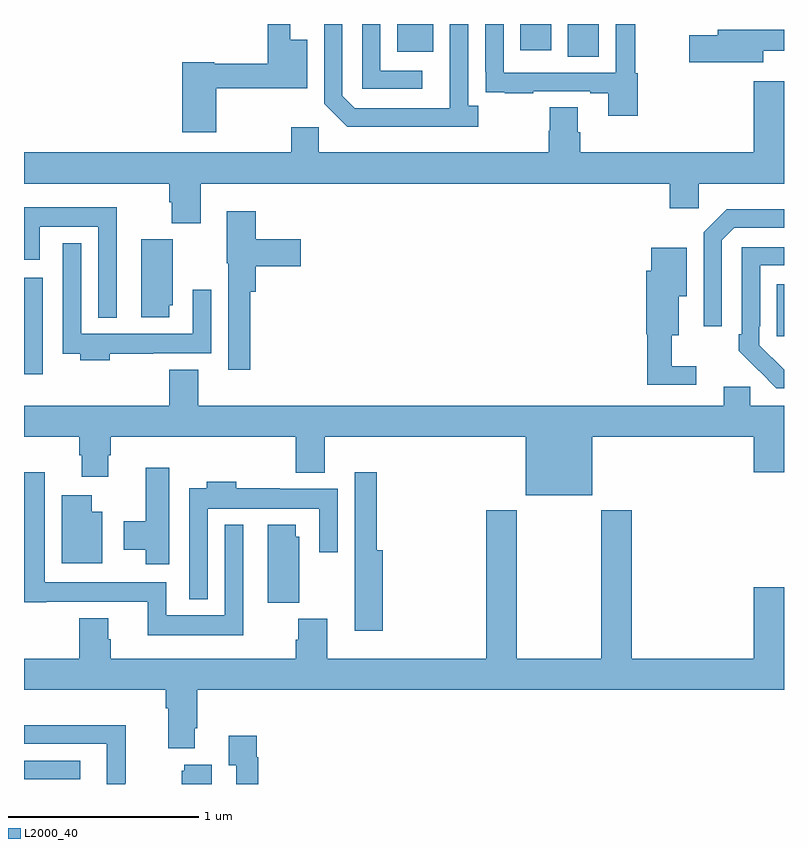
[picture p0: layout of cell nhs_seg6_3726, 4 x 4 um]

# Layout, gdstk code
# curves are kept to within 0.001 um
import gdstk
lib = gdstk.Library(unit=1e-6, precision=1e-09)
def R(c, l, rs):  # rectangles x0, y0, x1, y1
    for r in rs: c.add(gdstk.rectangle(r[:2], r[2:], *l))
def P(c, l, *ps):  # polygons
    for p in ps: c.add(gdstk.Polygon(p, *l))
L2000_40 = (2000, 40)

nhs_seg6_3726 = lib.new_cell('nhs_seg6_3726')
R(nhs_seg6_3726, L2000_40, [(329,953.526,329.296,953.622), (329,955.656,329.098,956.164), (332.963,955.857,333,956.131), (331.862,957.328,332.026,957.5), (330.965,957.353,331.153,957.5), (331.613,957.363,331.774,957.5)])
P(nhs_seg6_3726, L2000_40, [(331.39,957.07),(331.338,957.07),(331.338,957.5),(331.242,957.5),(331.241,957.057),(330.741,957.057),(330.675,957.123),(330.675,957.5),(330.579,957.5),(330.579,957.081),(330.7,956.96),(331.39,956.96)],
  [(330.012,957.162),(330.49,957.162),(330.49,957.418),(330.401,957.418),(330.401,957.5),(330.283,957.5),(330.283,957.29),(330,957.29),(330,957.298),(329.834,957.298),(329.834,956.931),(330.012,956.931)],
  [(331.096,957.255),(330.876,957.255),(330.876,957.5),(330.78,957.5),(330.78,957.159),(331.096,957.159)],
  [(332.231,957.24),(332.216,957.24),(332.216,957.5),(332.115,957.5),(332.115,957.243),(331.524,957.243),(331.524,957.5),(331.428,957.5),(331.428,957.25),(331.429,957.25),(331.429,957.141),(331.531,957.141),(331.531,957.135),(331.679,957.135),(331.679,957.147),(331.979,957.147),(331.979,957.135),(332.075,957.135),(332.075,957.018),(332.231,957.018)],
  [(332.89,957.359),(333,957.359),(333,957.469),(332.651,957.469),(332.651,957.44),(332.502,957.44),(332.502,957.298),(332.89,957.298)],
  [(329.93,956.66),(332.399,956.66),(332.399,956.529),(332.55,956.529),(332.55,956.66),(333,956.66),(333,957.199),(332.84,957.199),(332.84,956.824),(331.928,956.824),(331.928,956.93),(331.915,956.93),(331.915,957.062),(331.768,957.062),(331.768,956.937),(331.763,956.937),(331.763,956.824),(330.552,956.824),(330.552,956.956),(330.406,956.956),(330.406,956.824),(329,956.824),(329,956.66),(329.765,956.66),(329.765,956.561),(329.777,956.561),(329.777,956.452),(329.93,956.452)],
  [(329.488,956.536),(329,956.536),(329,956.258),(329.082,956.258),(329.082,956.432),(329.391,956.432),(329.391,955.955),(329.488,955.955)],
  [(332.673,956.361),(332.739,956.427),(333,956.427),(333,956.524),(332.698,956.524),(332.577,956.403),(332.577,955.908),(332.673,955.908)],
  [(330.191,956.09),(330.221,956.09),(330.221,956.225),(330.457,956.225),(330.457,956.367),(330.221,956.367),(330.221,956.515),(330.068,956.515),(330.068,956.241),(330.075,956.241),(330.075,955.68),(330.191,955.68)],
  [(329.764,956.019),(329.782,956.019),(329.782,956.367),(329.618,956.367),(329.618,955.956),(329.764,955.956)],
  [(329.45,955.764),(329.681,955.764),(329.681,955.766),(329.985,955.766),(329.985,956.101),(329.889,956.101),(329.889,955.87),(329.301,955.87),(329.301,956.347),(329.205,956.347),(329.205,955.764),(329.297,955.764),(329.297,955.73),(329.45,955.73)],
  [(333,955.681),(332.871,955.809),(332.871,955.909),(332.874,955.909),(332.874,956.229),(333,956.229),(333,956.325),(332.778,956.325),(332.778,955.867),(332.763,955.867),(332.763,955.779),(332.96,955.584),(333,955.584)],
  [(332.539,955.699),(332.41,955.699),(332.41,955.862),(332.446,955.862),(332.446,956.066),(332.488,956.066),(332.488,956.323),(332.3,956.323),(332.3,956.202),(332.276,956.202),(332.276,955.866),(332.281,955.866),(332.281,955.602),(332.539,955.602)],
  [(331.99,955.328),(332.84,955.328),(332.84,955.14),(333,955.14),(333,955.492),(332.823,955.492),(332.823,955.59),(332.684,955.59),(332.684,955.492),(329.917,955.492),(329.917,955.681),(329.765,955.681),(329.765,955.492),(329,955.492),(329,955.328),(329.291,955.328),(329.291,955.23),(329.303,955.23),(329.303,955.116),(329.443,955.116),(329.443,955.23),(329.456,955.23),(329.456,955.328),(330.431,955.328),(330.431,955.139),(330.583,955.139),(330.583,955.328),(331.64,955.328),(331.64,955.019),(331.99,955.019)],
  [(329.764,955.165),(329.642,955.165),(329.642,954.882),(329.525,954.882),(329.525,954.734),(329.642,954.734),(329.642,954.657),(329.764,954.657)],
  [(330.154,954.865),(330.057,954.865),(330.057,954.388),(329.748,954.388),(329.748,954.562),(329.109,954.562),(329.109,955.141),(329,955.141),(329,954.456),(329.116,954.456),(329.116,954.458),(329.651,954.458),(329.651,954.284),(330.154,954.284)],
  [(330.887,954.73),(330.857,954.73),(330.857,955.141),(330.741,955.141),(330.741,954.626),(330.74,954.626),(330.74,954.306),(330.887,954.306)],
  [(329.967,954.95),(330.555,954.95),(330.555,954.72),(330.651,954.72),(330.651,955.054),(330.347,955.054),(330.347,955.057),(330.116,955.057),(330.116,955.09),(329.963,955.09),(329.963,955.057),(329.871,955.057),(329.871,954.473),(329.967,954.473)],
  [(329.413,954.934),(329.356,954.934),(329.356,955.021),(329.198,955.021),(329.198,954.662),(329.413,954.662)],
  [(329.899,953.794),(329.912,953.794),(329.912,953.996),(333,953.996),(333,954.535),(332.84,954.535),(332.84,954.16),(332.198,954.16),(332.198,954.94),(332.038,954.94),(332.038,954.16),(331.593,954.16),(331.593,954.94),(331.433,954.94),(331.433,954.16),(330.596,954.16),(330.596,954.369),(330.443,954.369),(330.443,954.26),(330.431,954.26),(330.431,954.16),(329.456,954.16),(329.456,954.261),(329.443,954.261),(329.443,954.373),(329.291,954.373),(329.291,954.16),(329,954.16),(329,953.996),(329.747,953.996),(329.747,953.9),(329.759,953.9),(329.759,953.687),(329.899,953.687)],
  [(330.448,954.801),(330.43,954.801),(330.43,954.865),(330.284,954.865),(330.284,954.454),(330.448,954.454)],
  [(329.532,953.503),(329.535,953.503),(329.535,953.81),(329.071,953.81),(329.071,953.808),(329,953.808),(329,953.712),(329.436,953.712),(329.436,953.5),(329.532,953.5)],
  [(330.233,953.642),(330.226,953.642),(330.226,953.755),(330.077,953.755),(330.077,953.599),(330.117,953.599),(330.117,953.5),(330.233,953.5)],
  [(329.989,953.602),(329.843,953.602),(329.843,953.571),(329.831,953.571),(329.831,953.5),(329.989,953.5)])

lib.write_gds('nhs_seg6_3726.gds')
